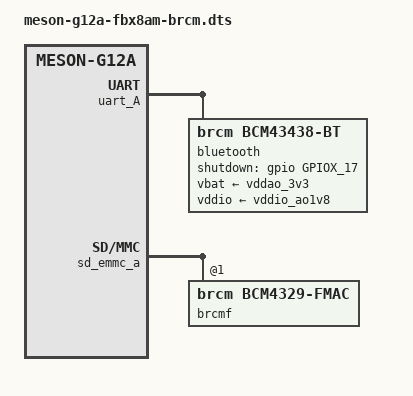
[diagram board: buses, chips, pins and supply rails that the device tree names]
/dts-v1/;

#include "meson-g12a-fbx8am.dtsi"

/ {
	compatible = "freebox,fbx8am-brcm", "freebox,fbx8am", "amlogic,g12a";
};

&uart_A {
	bluetooth {
		compatible = "brcm,bcm43438-bt";
		shutdown-gpios = <&gpio GPIOX_17 GPIO_ACTIVE_HIGH>;
		max-speed = <2000000>;
		clocks = <&wifi32k>;
		clock-names = "lpo";
		vbat-supply = <&vddao_3v3>;
		vddio-supply = <&vddio_ao1v8>;
	};
};

&sd_emmc_a {
    // TODO: It can be two broadcom chips, which?
    brcmf: wifi@1 {
        reg = <1>;
        compatible = "brcm,bcm4329-fmac";
    };
};
